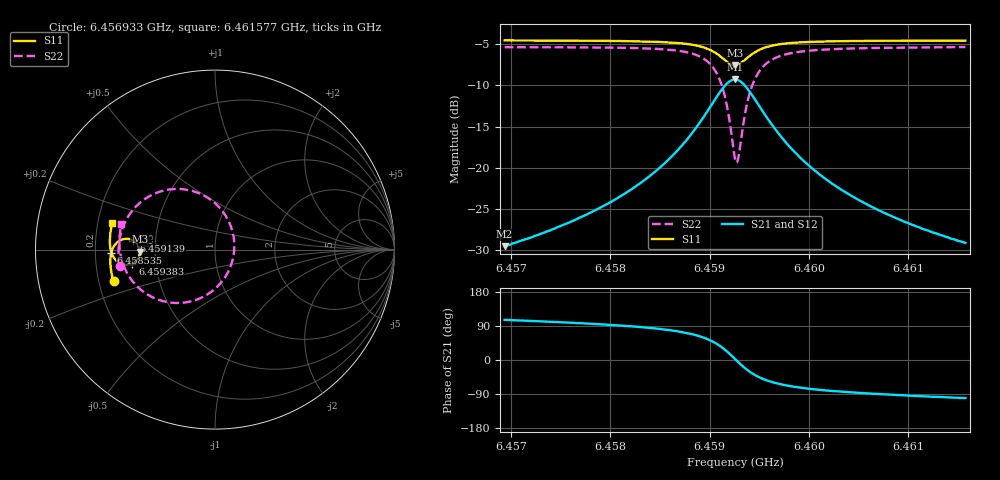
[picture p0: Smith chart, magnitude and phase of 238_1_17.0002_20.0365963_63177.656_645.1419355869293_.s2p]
#  HZ  S  RI  R  50.00
! Rohde & Schwarz Vector Network Analyzer
! Rohde-Schwarz,ZNB20-2Port,1311601062101988,3.16
! Created: UTC 3/20/2024, 11:02:45 PM
! freq[Hz]  re:S11  im:S11  re:S21  im:S21  re:S12  im:S12  re:S22  im:S22
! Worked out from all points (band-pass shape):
!   401 points, 6.456933 GHz to 6.461577 GHz, reference 50 ohm
!   highest |S21| = -9.29 dB at 6.459255 GHz (marker M1); lowest = -29.5 dB at 6.456933 GHz (marker M2)
!   |S21| within 3 dB of the highest: 6.459023 GHz to 6.459487 GHz (464.2 kHz wide, 0.00719 % of centre)
!   lowest |S11| = -7.6 dB at 6.459255 GHz (marker M3), VSWR 2.44, Z = 20.5 - j0.609 ohm
!   |S11| at or under -10 dB: nowhere
!   |S22| runs from -19.4 to -5.3 dB; largest |S21 - S12| = 0.013
!   S11 on the Smith chart (normalised r, x): 6.456933 GHz: 0.26, -0.14; 6.458535 GHz: 0.27, -0.01; 6.459139 GHz: 0.37, +0.05; 6.459383 GHz: 0.37, -0.07; 6.461577 GHz: 0.26, +0.12
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6.4569334e9  -0.5653 -0.1765  -0.00919 0.0321  -0.00737 0.032  -0.5308 -0.0926
6.4577112e9  -0.5798 -0.1088  -0.00617 0.05  -0.00355 0.0494  -0.5375 -0.002
6.4581291e9  -0.5832 -0.0672  -0.000532 0.0688  0.00257 0.0673  -0.5305 0.0634
6.4584889e9  -0.5797 -0.0245  0.0133 0.0981  0.0172 0.0955  -0.5056 0.1435
6.4585353e9  -0.5784 -0.0182  0.0165 0.1035  0.0206 0.1006  -0.4995 0.1567
6.4587443e9  -0.5663 0.0137  0.0424 0.1353  0.0466 0.1305  -0.4513 0.2283
6.4589068e9  -0.5429 0.0421  0.0894 0.168  0.0928 0.1614  -0.3647 0.2981
6.4590461e9  -0.4995 0.0599  0.176 0.1849  0.1769 0.1777  -0.2069 0.3379
6.4591389e9  -0.4551 0.0501  0.2654 0.1547  0.2658 0.1487  -0.041 0.2893
6.4591854e9  -0.434 0.0315  0.3091 0.1124  0.3104 0.1071  0.0419 0.2141
6.459255e9  -0.419 -0.0123  0.3428 0.0162  0.3465 0.00951  0.1076 0.0359
6.4592666e9  -0.4195 -0.0202  0.3427 -0.00133  0.3465 -0.00891  0.1073 0.00254
6.4592899e9  -0.4228 -0.0357  0.3372 -0.0359  0.3411 -0.0448  0.0969 -0.0628
6.4593827e9  -0.46 -0.0778  0.2679 -0.1365  0.2671 -0.1496  -0.0435 -0.2505
6.4594291e9  -0.4828 -0.0848  0.2239 -0.1592  0.2201 -0.1719  -0.1317 -0.2877
6.4594872e9  -0.5076 -0.084  0.1749 -0.1689  0.1683 -0.1798  -0.2283 -0.297
6.4596381e9  -0.549 -0.0625  0.0922 -0.1529  0.0838 -0.1587  -0.3857 -0.2441
6.4598006e9  -0.5693 -0.035  0.0496 -0.1257  0.0422 -0.1283  -0.4615 -0.1737
6.4600328e9  -0.5811 -0.00137  0.0228 -0.0963  0.0168 -0.097  -0.506 -0.0964
6.4604042e9  -0.5857 0.0424  0.00606 -0.0686  0.00199 -0.0679  -0.5287 -0.0132
6.4608105e9  -0.5838 0.0829  -0.00119 -0.0515  -0.00395 -0.0507  -0.5326 0.0506
6.4615766e9  -0.5716 0.1506  -0.00627 -0.0344  -0.00807 -0.0334  -0.5217 0.1409
